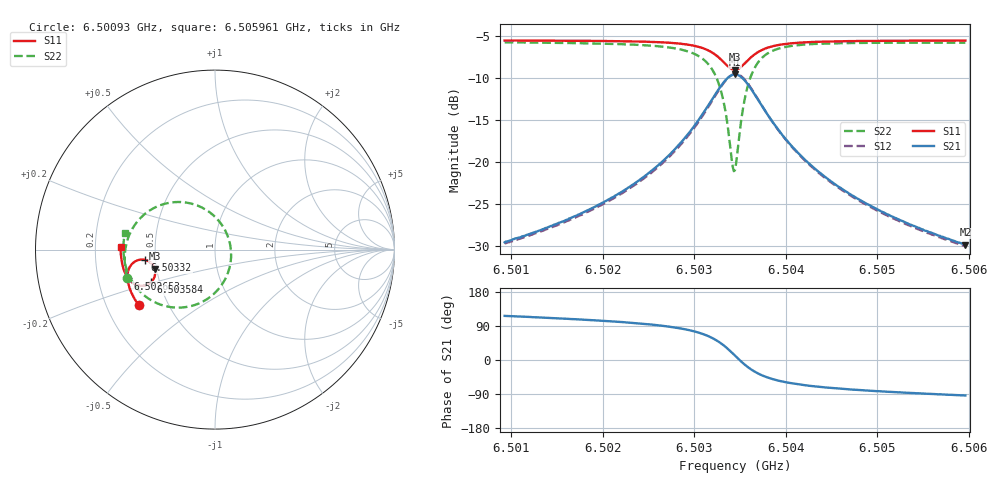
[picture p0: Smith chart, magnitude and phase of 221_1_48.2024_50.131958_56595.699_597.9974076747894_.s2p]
#  HZ  S  RI  R  50.00
! Rohde & Schwarz Vector Network Analyzer
! Rohde-Schwarz,ZNB20-2Port,1311601062101988,3.16
! Created: UTC 3/20/2024, 11:45:56 AM
! freq[Hz]  re:S11  im:S11  re:S21  im:S21  re:S12  im:S12  re:S22  im:S22
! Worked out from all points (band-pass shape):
!   401 points, 6.50093 GHz to 6.505961 GHz, reference 50 ohm
!   highest |S21| = -9.60 dB at 6.503445 GHz (marker M1); lowest = -29.8 dB at 6.505961 GHz (marker M2)
!   |S21| within 3 dB of the highest: 6.503193 GHz to 6.503697 GHz (503.3 kHz wide, 0.00774 % of centre)
!   lowest |S11| = -9.0 dB at 6.503445 GHz (marker M3), VSWR 2.09, Z = 24.4 - j5.95 ohm
!   |S11| at or under -10 dB: nowhere
!   |S22| runs from -21.1 to -5.8 dB; largest |S21 - S12| = 0.011
!   S11 on the Smith chart (normalised r, x): 6.50093 GHz: 0.34, -0.29; 6.502653 GHz: 0.33, -0.14; 6.50332 GHz: 0.44, -0.06; 6.503584 GHz: 0.45, -0.19; 6.505961 GHz: 0.31, +0.01
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6.5009298e9  -0.4254 -0.3105  -0.0149 0.03  -0.0132 0.0301  -0.4893 -0.1559
6.5017725e9  -0.4618 -0.2483  -0.0143 0.0478  -0.0119 0.0473  -0.5029 -0.0666
6.5022379e9  -0.4782 -0.207  -0.0114 0.0672  -0.0083 0.0662  -0.5 -0.000484
6.5026152e9  -0.4871 -0.1654  -0.00225 0.0968  0.00141 0.0944  -0.4804 0.0748
6.5026529e9  -0.4875 -0.1606  -0.000615 0.1009  0.00323 0.0984  -0.4764 0.0844
6.5029296e9  -0.4835 -0.1175  0.0264 0.1435  0.0301 0.1391  -0.4207 0.1704
6.5031183e9  -0.462 -0.0794  0.081 0.1858  0.0833 0.1795  -0.3165 0.243
6.5032315e9  -0.4291 -0.0587  0.1503 0.2032  0.1512 0.1969  -0.1911 0.265
6.5033195e9  -0.3886 -0.0573  0.2302 0.1866  0.2307 0.1815  -0.0532 0.2236
6.5033573e9  -0.3692 -0.0652  0.2668 0.1632  0.2676 0.1586  0.00694 0.1759
6.5034202e9  -0.3425 -0.0921  0.3144 0.0985  0.3171 0.0935  0.0788 0.0513
6.5034453e9  -0.3362 -0.1069  0.3245 0.0659  0.3277 0.0601  0.0893 -0.00925
6.5034705e9  -0.3333 -0.1226  0.3279 0.0321  0.3314 0.0251  0.087 -0.0712
6.5035334e9  -0.3406 -0.16  0.3092 -0.046  0.3112 -0.0561  0.0301 -0.2068
6.5035837e9  -0.3571 -0.182  0.2754 -0.0916  0.275 -0.1029  -0.0468 -0.2776
6.5036969e9  -0.4016 -0.2013  0.1907 -0.1362  0.1853 -0.1457  -0.2185 -0.3231
6.5038604e9  -0.4479 -0.1916  0.1087 -0.1327  0.1016 -0.1378  -0.3662 -0.2759
6.5040365e9  -0.4754 -0.1703  0.0642 -0.1124  0.0579 -0.1148  -0.4384 -0.2106
6.504288e9  -0.4961 -0.1403  0.034 -0.0881  0.0292 -0.0886  -0.4818 -0.1382
6.5046779e9  -0.5121 -0.0997  0.0146 -0.0643  0.0113 -0.0637  -0.5046 -0.0611
6.5051307e9  -0.5211 -0.0578  0.00507 -0.0481  0.00273 -0.0475  -0.5103 0.00255
6.5059608e9  -0.5259 0.0123  -0.00207 -0.0324  -0.00337 -0.0316  -0.5024 0.0905
